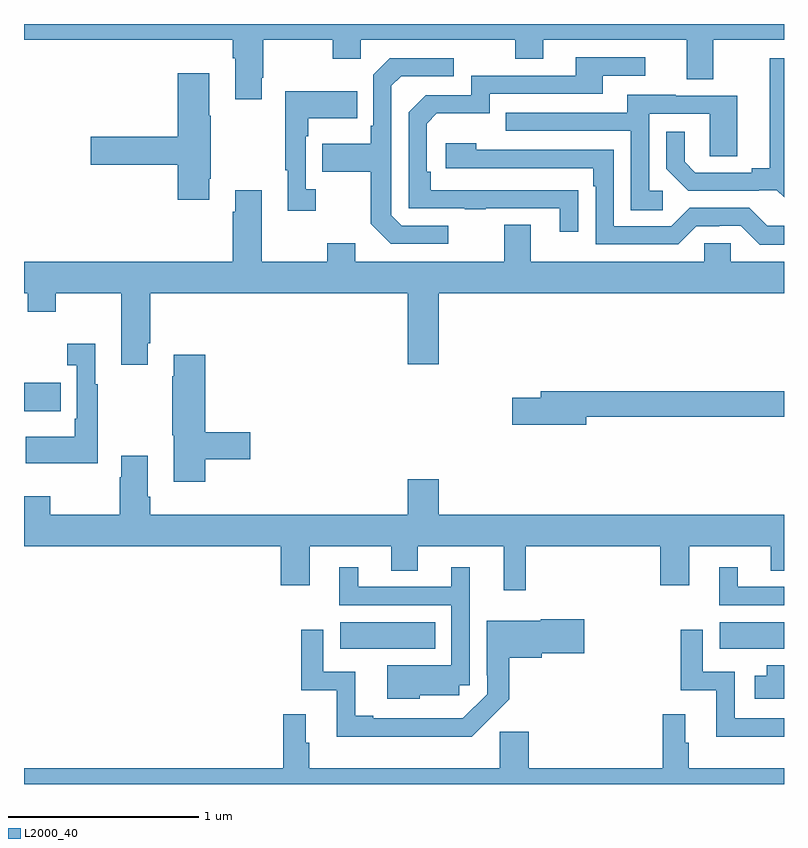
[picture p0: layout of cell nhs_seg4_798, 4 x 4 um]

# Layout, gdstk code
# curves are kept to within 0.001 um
import gdstk
lib = gdstk.Library(unit=1e-6, precision=1e-09)
def R(c, l, rs):  # rectangles x0, y0, x1, y1
    for r in rs: c.add(gdstk.rectangle(r[:2], r[2:], *l))
def P(c, l, *ps):  # polygons
    for p in ps: c.add(gdstk.Polygon(p, *l))
L2000_40 = (2000, 40)

nhs_seg4_798 = lib.new_cell('nhs_seg4_798')
R(nhs_seg4_798, L2000_40, [(152.664,797.612,153.164,797.752), (154.662,797.612,155,797.752), (151,798.863,151.193,799.011)])
P(nhs_seg4_798, L2000_40, [(152.251,800.617),(152.259,800.617),(152.259,800.816),(152.626,800.816),(152.626,800.717),(152.772,800.717),(152.772,800.816),(153.586,800.816),(153.586,800.717),(153.733,800.717),(153.733,800.816),(154.487,800.816),(154.487,800.608),(154.627,800.608),(154.627,800.816),(155,800.816),(155,800.9),(151,800.9),(151,800.816),(152.099,800.816),(152.099,800.72),(152.111,800.72),(152.111,800.505),(152.251,800.505)],
  [(153.917,800.024),(153.14,800.025),(153.14,800.122),(153.12,800.122),(153.12,800.376),(153.173,800.429),(153.45,800.429),(153.45,800.532),(154.045,800.532),(154.045,800.628),(154.27,800.628),(154.27,800.724),(153.905,800.724),(153.905,800.628),(153.354,800.628),(153.354,800.526),(153.114,800.526),(153.024,800.436),(153.024,799.929),(153.319,799.929),(153.319,799.924),(153.431,799.924),(153.431,799.929),(153.821,799.929),(153.821,799.806),(153.917,799.806)],
  [(153.232,799.839),(152.988,799.839),(152.934,799.893),(152.934,800.574),(152.985,800.625),(153.262,800.625),(153.262,800.721),(152.925,800.721),(152.838,800.634),(152.838,800.365),(152.826,800.365),(152.826,800.269),(152.569,800.269),(152.569,800.122),(152.826,800.122),(152.826,799.849),(152.931,799.743),(153.232,799.743)],
  [(155,800.721),(154.925,800.721),(154.925,800.141),(154.829,800.141),(154.829,800.118),(154.534,800.118),(154.477,800.175),(154.477,800.332),(154.38,800.332),(154.38,800.138),(154.496,800.022),(154.868,800.022),(154.868,800.025),(154.962,800.025),(155,799.987)],
  [(151.975,800.086),(151.983,800.086),(151.983,800.417),(151.975,800.417),(151.975,800.641),(151.808,800.641),(151.808,800.306),(151.35,800.306),(151.35,800.159),(151.808,800.159),(151.808,799.974),(151.975,799.974)],
  [(152.536,800.03),(152.484,800.03),(152.484,800.309),(152.497,800.309),(152.497,800.405),(152.753,800.405),(152.753,800.545),(152.376,800.545),(152.376,800.129),(152.387,800.129),(152.387,799.917),(152.536,799.917)],
  [(154.363,800.022),(154.29,800.022),(154.29,800.427),(154.608,800.427),(154.608,800.203),(154.753,800.203),(154.753,800.523),(154.429,800.523),(154.429,800.527),(154.175,800.527),(154.175,800.433),(153.535,800.433),(153.535,800.337),(154.194,800.337),(154.194,799.921),(154.363,799.921)],
  [(155,799.839),(154.911,799.839),(154.818,799.932),(154.503,799.932),(154.407,799.836),(154.104,799.836),(154.104,800.238),(153.38,800.238),(153.38,800.272),(153.219,800.272),(153.219,800.142),(153.995,800.142),(153.995,800.045),(154.008,800.045),(154.008,799.74),(154.443,799.74),(154.539,799.836),(154.658,799.836),(154.658,799.839),(154.773,799.839),(154.873,799.739),(155,799.739)],
  [(151.651,799.219),(151.664,799.219),(151.664,799.484),(153.02,799.484),(153.02,799.11),(153.184,799.11),(153.184,799.484),(155,799.484),(155,799.648),(154.719,799.648),(154.719,799.746),(154.581,799.746),(154.581,799.648),(153.667,799.648),(153.667,799.843),(153.527,799.843),(153.527,799.648),(152.743,799.648),(152.743,799.747),(152.596,799.747),(152.596,799.648),(152.251,799.648),(152.251,800.026),(152.111,800.026),(152.111,799.913),(152.099,799.913),(152.099,799.648),(151,799.648),(151,799.484),(151.019,799.484),(151.019,799.385),(151.167,799.385),(151.167,799.484),(151.511,799.484),(151.511,799.107),(151.651,799.107)],
  [(151.387,799.003),(151.375,799.003),(151.375,799.216),(151.227,799.216),(151.227,799.103),(151.278,799.103),(151.278,798.823),(151.266,798.823),(151.266,798.727),(151.009,798.727),(151.009,798.587),(151.387,798.587)],
  [(151.955,798.61),(152.191,798.61),(152.191,798.752),(151.955,798.752),(151.955,799.159),(151.787,799.159),(151.787,799.046),(151.78,799.046),(151.78,798.735),(151.787,798.735),(151.787,798.492),(151.955,798.492)],
  [(153.958,798.832),(155,798.832),(155,798.968),(153.719,798.968),(153.719,798.932),(153.57,798.932),(153.57,798.79),(153.958,798.79)],
  [(153.641,798.152),(154.349,798.152),(154.349,797.946),(154.501,797.946),(154.501,798.152),(154.931,798.152),(154.931,798.022),(155,798.022),(155,798.316),(153.184,798.316),(153.184,798.505),(153.02,798.505),(153.02,798.316),(151.664,798.316),(151.664,798.412),(151.651,798.412),(151.651,798.628),(151.511,798.628),(151.511,798.515),(151.504,798.515),(151.504,798.316),(151.137,798.316),(151.137,798.415),(151,798.415),(151,798.152),(152.351,798.152),(152.351,797.946),(152.503,797.946),(152.503,798.152),(152.933,798.152),(152.933,798.022),(153.073,798.022),(153.073,798.152),(153.524,798.152),(153.524,797.919),(153.641,797.919)],
  [(155,797.937),(154.756,797.937),(154.756,798.04),(154.658,798.04),(154.658,797.841),(155,797.841)],
  [(153.084,797.366),(153.291,797.366),(153.291,797.421),(153.345,797.421),(153.345,798.04),(153.248,798.04),(153.248,797.937),(152.758,797.937),(152.758,798.04),(152.66,798.04),(152.66,797.841),(153.249,797.841),(153.249,797.524),(152.912,797.524),(152.912,797.348),(153.084,797.348)],
  [(153.554,797.345),(153.554,797.564),(153.724,797.564),(153.724,797.588),(153.949,797.588),(153.949,797.766),(153.72,797.766),(153.72,797.758),(153.435,797.758),(153.435,797.473),(153.438,797.473),(153.438,797.373),(153.31,797.245),(153.209,797.245),(153.209,797.247),(152.839,797.247),(152.839,797.26),(152.743,797.26),(152.743,797.49),(152.574,797.49),(152.574,797.713),(152.458,797.713),(152.458,797.394),(152.645,797.394),(152.645,797.15),(153.157,797.15),(153.157,797.148),(153.356,797.148)],
  [(155,797.247),(154.74,797.247),(154.74,797.49),(154.572,797.49),(154.572,797.713),(154.456,797.713),(154.456,797.394),(154.643,797.394),(154.643,797.15),(155,797.15)],
  [(155,797.524),(154.91,797.524),(154.91,797.47),(154.845,797.47),(154.845,797.348),(155,797.348)],
  [(155,796.984),(154.499,796.984),(154.499,797.117),(154.48,797.117),(154.48,797.266),(154.363,797.266),(154.363,796.984),(153.656,796.984),(153.656,797.175),(153.505,797.175),(153.505,796.984),(152.501,796.984),(152.501,797.117),(152.482,797.117),(152.482,797.266),(152.365,797.266),(152.365,796.984),(151,796.984),(151,796.9),(155,796.9)])

lib.write_gds('nhs_seg4_798.gds')
